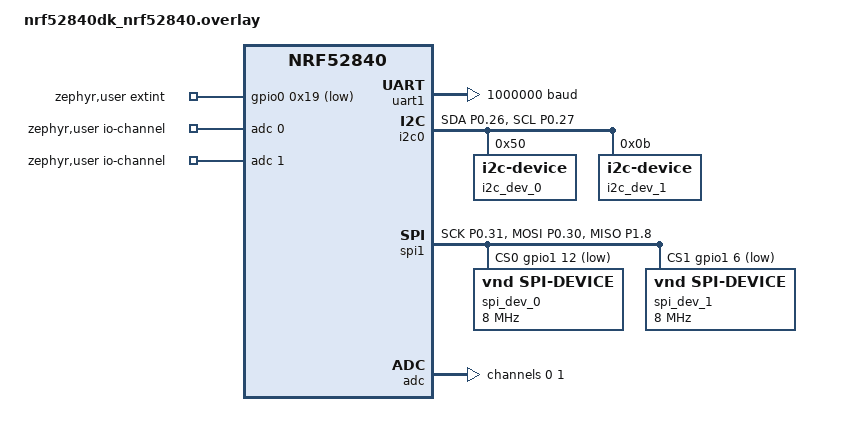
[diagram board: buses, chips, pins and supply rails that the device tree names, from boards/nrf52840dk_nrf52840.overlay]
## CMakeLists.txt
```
# SPDX-License-Identifier: Apache-2.0

cmake_minimum_required(VERSION 3.20.0)
find_package(Zephyr REQUIRED HINTS $ENV{ZEPHYR_BASE})
project(ble_comprehensive)

target_sources(app PRIVATE src/main.c)

target_sources_ifdef(CONFIG_SAMPLE_I2C app
                     PRIVATE src/i2c_thread.c)

target_sources_ifdef(CONFIG_SAMPLE_SPIM app
                     PRIVATE src/spi_thread.c)

target_sources_ifdef(CONFIG_SAMPLE_HS_UART app
                     PRIVATE src/uart_thread.c)

target_sources_ifdef(CONFIG_SAMPLE_ADC app
                     PRIVATE src/adc_thread.c)

target_sources_ifdef(CONFIG_SAMPLE_EXT_INT app
                     PRIVATE src/io_int_thread.c)

target_sources_ifdef(CONFIG_SAMPLE_FLASH_SETTINGS app
                     PRIVATE src/settings_thread.c)

target_sources_ifdef(CONFIG_SAMPLE_FLASH_NVS app
                     PRIVATE src/nvs_thread.c)

if (CONFIG_DTM_IN_APP)
    add_subdirectory(src/dtm)
endif()

zephyr_library_include_directories(.)
```

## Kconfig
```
#
# Copyright (c) 2018 Nordic Semiconductor ASA
#
# SPDX-License-Identifier: LicenseRef-BSD-5-Clause-Nordic
#

source "Kconfig.zephyr"
menu "BLE Comprehensive Example"

if BOOTLOADER_MCUBOOT
config NCS_SAMPLE_MCUMGR_BT_OTA_DFU
	default y
endif

config SAMPLE_I2C
	bool "Enable I2C master example"
	help
	  Enable I2C master communication example using simulated EEPROM.

config SAMPLE_SPIM
	bool "Enable SPI master example"
	help
	  Enable SPI master communication example.

config SAMPLE_EXT_INT
	bool "Enable external GPIO interrupt example"
	help
	  Enable external IO interrupt example triggering I2C on interrupt.

config SAMPLE_ADC
	bool "Enable ADC sampling example"
	help
	  Enable ADC sampling example reading multiple channels.

config SAMPLE_HS_UART
	bool "Enable high-speed UART example"
	help
	  Enable high-speed async UART example at 1 Mbps.

config SAMPLE_FLASH_NVS
	bool "Enable NVS flash access example"
	help
	  Enable Non-Volatile Storage (NVS) flash access usage example.

config SAMPLE_FLASH_SETTINGS
	bool "Enable Settings flash access example"
	help
	  Enable Zephyr Settings subsystem flash access usage example.

# Auto-select storage backend based on SoC flash type
config ZMS
	default y if (SOC_FLASH_NRF_RRAM || SOC_FLASH_NRF_MRAM)

config NVS
	default y if !(SOC_FLASH_NRF_RRAM || SOC_FLASH_NRF_MRAM)

config BT_NUS_SECURITY_ENABLED
	bool "Enable security"
	default n
	select BT_SMP
	help
	  Enable BLE security for the UART service.
	  Requires CONFIG_BT_NUS_SECURITY_ENABLED=y in prj.conf to activate.

config DTM_IN_APP
	bool "Enable DTM in application"
	depends on SOC_NRF54L15_CPUAPP	
	help
	  Enable Direct Test Mode (DTM) running at PRE_KERNEL_1 before
	  the application main. When enabled, hold Button 2 at boot to
	  enter DTM mode; otherwise the application boots normally.

if DTM_IN_APP
	config LOG_PRINTK
		default n

	config NRFX_TIMER
		default y		

	config KERNEL_INIT_PRIORITY_DEVICE
		int
		default 20

	config CONSOLE_INIT_PRIORITY
		int
		default 21
endif # DTM_IN_APP

if DTM_IN_APP

mainmenu "Nordic DTM sample"

config DTM_RADIO_IRQ_PRIORITY
	int "Radio interrupt priority"
	range 0 5 if ZERO_LATENCY_IRQS
	range 0 6
	default 2
	help
	  Sets Radio interrupt priority.
	  Levels are from 0 (highest priority) to 6 (lowest priority)

config DTM_TIMER_IRQ_PRIORITY
	int "DTM timer interrupt priority"
	range 0 5 if ZERO_LATENCY_IRQS
	range 0 6
	default 3
	help
	  Sets DTM timer interrupt priority.
	  Levels are from 0 (highest priority) to 6 (lowest priority)

config ANOMALY_172_TIMER_IRQ_PRIORITY
	int "Anomaly 172 timer interrupt priority"
	depends on SOC_NRF52840
	range 0 5 if ZERO_LATENCY_IRQS
	range 0 6
	default 2
	help
	  Sets anomaly 172 timer interrupt priority.
	  Levels are from 0 (highest priority) to 6 (lowest priority)

config DTM_USB
	bool "DTM over USB CDC ACM class"
	depends on SOC_NRF5340_CPUNET && !DTM_TRANSPORT_HCI
	select EXPERIMENTAL
	help
	  Use USB instead of UART as the DTM interface. For nRF5340 the USB
	  from application core is used as communication interface.

config DTM_TRANSPORT_HCI
	bool "DTM over HCI UART [EXPERIMENTAL]"
	depends on SERIAL
	depends on NET_BUF
	select EXPERIMENTAL
	help
	  Use the HCI UART transport interface as the DTM transport layer.
	  This option is inherited from SB_CONFIG_DTM_TRANSPORT_HCI.

if DTM_TRANSPORT_HCI

config DTM_HCI_QUEUE_COUNT
	int "Count of HCI RX/TX queues"
	default 16
	help
	  Maximum depth of the HCI RX/TX queues.

config DTM_HCI_QUEUE_SIZE
	int "Size of HCI RX/TX queue buffer"
	default 1024
	help
	  Maximum size of the HCI RX/TX queue element.

config DTM_HCI_TX_THREAD_STACK_SIZE
	int "Stack size of TX thread"
	default 2048
	help
	  Stack size of the TX thread.

config DTM_HCI_TX_THREAD_PRIORITY
	int "TX thread priority"
	default 7
	help
	  Priority of the TX thread.

endif # DTM_TRANSPORT_HCI

config DTM_POWER_CONTROL_AUTOMATIC
	bool "Automatic power control"
	depends on FEM
	default y
	help
	  Set the SoC output power and the front-end module gain to achieve
	  the TX output power requested by user. If the exact value cannot be
	  achieved, power is set to the closest possible value. If this option
	  is disabled, user can set the SoC output power and the front-end
	  module gain with the separate vendor specific commands.

config DTM_FAST_RAMP_UP
	bool "Enable radio fast ramp up mode"
	default y
	help
	  Do fast ramp up when starting the radio peripheral. This mode will
	  significantly reduce the ramp up time and makes it almost the same
	  on all supported chips.

endif # DTM_IN_APP

module = BLE_COMPREHENSIVE_CONFIG
module-str = BLE Comprehensive Sample configurations
source "${ZEPHYR_BASE}/subsys/logging/Kconfig.template.log_config"

endmenu
```

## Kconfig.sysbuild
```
#
# Copyright (c) 2023 Nordic Semiconductor ASA
#
# SPDX-License-Identifier: LicenseRef-Nordic-5-Clause
#

if SOC_SERIES_NRF53

if BOOTLOADER_MCUBOOT

config MCUBOOT_UPDATEABLE_IMAGES
	default 2

choice MCUBOOT_MODE
	default MCUBOOT_MODE_OVERWRITE_ONLY
endchoice

config SECURE_BOOT_NETCORE
	default y

config NETCORE_APP_UPDATE
	default y

config MCUBOOT_NRF53_MULTI_IMAGE_UPDATE
	default y

endif # BOOTLOADER_MCUBOOT

config NRF_DEFAULT_IPC_RADIO
	default y

config NETCORE_IPC_RADIO_BT_HCI_IPC
	default y 
endif # SOC_SERIES_NRF53

choice APPCORE
	default APPCORE_REMOTE_HCI if DTM_TRANSPORT_HCI
	default APPCORE_REMOTE_SHELL if SOC_NRF5340_CPUNET
	depends on SUPPORT_APPCORE

config APPCORE_REMOTE_HCI
	bool "remote_hci"
	depends on SOC_NRF5340_CPUNET
	help
	  Include remote_hci as the appcore image to use

endchoice

config APPCORE_IMAGE_NAME
	default "remote_hci" if APPCORE_REMOTE_HCI

config APPCORE_IMAGE_PATH
	default "${ZEPHYR_NRF_MODULE_DIR}/samples/bluetooth/direct_test_mode/remote_hci" if APPCORE_REMOTE_HCI

choice DTM_TRANSPORT
	default DTM_TRANSPORT_TWOWIRE
	prompt "Transport layer to use with DTM"
	help
	  Transport interface to use with the DTM.

config DTM_TRANSPORT_TWOWIRE
	bool "DTM over 2-wire UART"
	help
	  Use the 2-wire transport interface as the DTM transport layer.

config DTM_TRANSPORT_HCI
	bool "DTM over HCI UART [EXPERIMENTAL]"
	select EXPERIMENTAL
	help
	  Use the HCI UART transport interface as the DTM transport layer.

endchoice # DTM_TRANSPORT

config DTM_NO_DFE
	bool "Disable direction finding"
	help
	  Disable direction finding feature.

source "share/sysbuild/Kconfig"
```

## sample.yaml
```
sample:
  description: BLE sample with secondary slot on external QSPI/SPI flash
  name: BLE Comprehensive example
tests:
  sample.bluetooth.ble_comprehensive:
    sysbuild: true
    harness: bluetooth
    integration_platforms:
      - nrf52dk/nrf52832
      - nrf52840dk/nrf52840
    platform_allow: nrf52dk/nrf52832 nrf52840dk/nrf52840
    tags: bluetooth sysbuild
  sample.bluetooth.ble_comprehensive.build:
    sysbuild: true
    build_only: true
    integration_platforms:
      - nrf52840dk/nrf52840
      - nrf5340dk/nrf5340/cpuapp
      - nrf7002dk/nrf5340/cpuapp      
      - nrf54l15dk/nrf54l15/cpuapp
    platform_allow: nrf52840dk/nrf52840 nrf5340dk/nrf5340/cpuapp
      nrf7002dk/nrf5340/cpuapp nrf54l15dk/nrf54l15/cpuapp
    tags: bluetooth ci_build sysbuild
```

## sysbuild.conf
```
# Enable MCUboot bootloader support
SB_CONFIG_BOOTLOADER_MCUBOOT=y
SB_CONFIG_PARTITION_MANAGER=n
SB_CONFIG_BOOT_SIGNATURE_TYPE_ECDSA_P256=y
```

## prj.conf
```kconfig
CONFIG_NCS_SAMPLES_DEFAULTS=y

## Logging
CONFIG_LOG=y
CONFIG_LOG_MODE_DEFERRED=y
CONFIG_PRINTK=y
CONFIG_LOG_PRINTK=n
CONFIG_LOG_BUFFER_SIZE=8192
CONFIG_EARLY_CONSOLE=y

## Peripherals
CONFIG_GPIO=y
CONFIG_DK_LIBRARY=y
CONFIG_I2C=y
CONFIG_SERIAL=y
CONFIG_UART_ASYNC_API=y
CONFIG_UART_USE_RUNTIME_CONFIGURE=y
CONFIG_NRFX_GPPI=y
CONFIG_CLOCK_CONTROL=y
CONFIG_SPI=y
CONFIG_ADC=y
CONFIG_ADC_ASYNC=y
CONFIG_ADC_NRFX_SAADC=y

## Flash / Storage
CONFIG_FLASH=y
CONFIG_FLASH_PAGE_LAYOUT=y
CONFIG_FLASH_MAP=y
CONFIG_MPU_ALLOW_FLASH_WRITE=y
CONFIG_SETTINGS=y

## Bluetooth
CONFIG_BT=y
CONFIG_BT_PERIPHERAL=y
CONFIG_BT_DEVICE_NAME="comprehensive"
CONFIG_BT_NUS=y

# Enable FOTA over Bluetooth LE
CONFIG_NCS_SAMPLE_MCUMGR_BT_OTA_DFU=y

## Active feature examples
CONFIG_SAMPLE_I2C=y
CONFIG_SAMPLE_EXT_INT=y
CONFIG_SAMPLE_HS_UART=y
CONFIG_SAMPLE_SPIM=y
CONFIG_SAMPLE_ADC=y
CONFIG_SAMPLE_FLASH_SETTINGS=y

## Power Management
CONFIG_PM_DEVICE=y

## Thread Monitor
CONFIG_THREAD_ANALYZER=y
CONFIG_THREAD_NAME=y

## Stack / Heap Sizing
CONFIG_SYSTEM_WORKQUEUE_STACK_SIZE=4096
CONFIG_HEAP_MEM_POOL_SIZE=12288
CONFIG_MAIN_STACK_SIZE=4096
CONFIG_ISR_STACK_SIZE=4096
```

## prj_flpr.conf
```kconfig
## logging configurations ##
CONFIG_ASSERT=y
CONFIG_LOG=y
CONFIG_LOG_PRINTK=y
CONFIG_LOG_BUFFER_SIZE=8192

## peripherals ##
CONFIG_GPIO=y
CONFIG_DK_LIBRARY=y

## stack size configurations ##
CONFIG_SYSTEM_WORKQUEUE_STACK_SIZE=4096
# CONFIG_ISR_STACK_SIZE=2048
CONFIG_HEAP_MEM_POOL_SIZE=12288
CONFIG_MAIN_STACK_SIZE=2048

## I2C master example ##
CONFIG_EXAMPLE_I2C=y
CONFIG_I2C=y

## external interrupt example ##
CONFIG_EXAMPLE_EXT_INT=y

## SPI master example ##
CONFIG_EXAMPLE_SPIM=y
CONFIG_SPI=y

CONFIG_EXAMPLE_HS_UART=n

## ADC example ##
CONFIG_EXAMPLE_ADC=y
CONFIG_ADC=y
CONFIG_ADC_NRFX_SAADC=y

## Flash access usage example ##
CONFIG_FLASH=y
CONFIG_FLASH_PAGE_LAYOUT=y
CONFIG_FLASH_MAP=y
CONFIG_MPU_ALLOW_FLASH_WRITE=y

CONFIG_EXAMPLE_FLASH_NVS=y
CONFIG_NVS=y

CONFIG_EXAMPLE_FLASH_SETTINGS=y
CONFIG_SETTINGS=y
CONFIG_PM_PARTITION_SIZE_SETTINGS_STORAGE=0x4000

## BT configurations ##
CONFIG_BT=y
CONFIG_BT_PERIPHERAL=y
CONFIG_BT_DEVICE_NAME="comprehensive"
CONFIG_BT_BUF_ACL_TX_SIZE=251
CONFIG_BT_BUF_ACL_RX_SIZE=502
CONFIG_BT_CTLR_DATA_LENGTH_MAX=251
CONFIG_BT_MAX_CONN=2

# Enable the NUS service
CONFIG_BT_NUS=y

## Enable bonding ##
# CONFIG_BT_NUS_SECURITY_ENABLED=y
# CONFIG_BT_SETTINGS=y
# CONFIG_BT_L2CAP_DYNAMIC_CHANNEL=y
# CONFIG_BT_SETTINGS_CCC_STORE_ON_WRITE=y

## Open the following configs to run SMP DFU ##
CONFIG_NCS_SAMPLE_MCUMGR_BT_OTA_DFU=y
CONFIG_NCS_SAMPLE_MCUMGR_BT_OTA_DFU_SPEEDUP=y
CONFIG_NCS_SAMPLE_MCUMGR_BT_OTA_DFU_VALIDATION=y
CONFIG_MCUMGR_GRP_ZBASIC_STORAGE_ERASE=n

## Device power management example ##
CONFIG_PM_DEVICE=y

## Thread monitor ##
CONFIG_THREAD_ANALYZER=y
CONFIG_THREAD_NAME=y

## Change logging backend to RTT ##
# CONFIG_LOG_BACKEND_UART=n
# CONFIG_LOG_BACKEND_RTT=y
# CONFIG_USE_SEGGER_RTT=y
# CONFIG_RTT_CONSOLE=y
# CONFIG_UART_CONSOLE=n

## open Debug logging for BT or other modules
# CONFIG_BT_SMP_ALLOW_UNAUTH_OVERWRITE=y
# # CONFIG_BT_USE_DEBUG_KEYS=y
# # CONFIG_BT_STORE_DEBUG_KEYS=y
# CONFIG_LOG_PROCESS_THREAD_STACK_SIZE=4096
# CONFIG_LOG_BUFFER_SIZE=40960
# CONFIG_BT_DEBUG_LOG=y
# CONFIG_LOG_DEFAULT_LEVEL=4
# CONFIG_BT_ASSERT=y
# CONFIG_BT_ASSERT_PANIC=y
# CONFIG_BT_DEBUG_LOG=y
# CONFIG_BT_DEBUG_HCI_CORE=y
# CONFIG_BT_DEBUG_HCI_DRIVER=y
# CONFIG_BT_LL_SW_SPLIT=y
```

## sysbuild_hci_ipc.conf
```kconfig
# Enable MCUboot bootloader support
SB_CONFIG_BOOTLOADER_MCUBOOT=y
SB_CONFIG_NETCORE_HCI_IPC=y
SB_CONFIG_PARTITION_MANAGER=y
SB_CONFIG_NETCORE_APP_UPDATE=y
SB_CONFIG_SECURE_BOOT_NETCORE=y
SB_CONFIG_PM_EXTERNAL_FLASH_MCUBOOT_SECONDARY=y
SB_CONFIG_BOOT_SIGNATURE_TYPE_ECDSA_P256=y
```

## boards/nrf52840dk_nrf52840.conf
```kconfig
## NVS flash storage backend
CONFIG_SAMPLE_FLASH_NVS=y
CONFIG_NVS=y
```

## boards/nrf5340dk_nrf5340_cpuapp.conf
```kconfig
# CONFIG_NRFX_TWIM2=y

# CONFIG_UART_NRFX_UARTE_LEGACY_SHIM=y
# CONFIG_UART_NRFX_UARTE_ENHANCED_RX=n
# CONFIG_UART_0_ASYNC=n
# CONFIG_UART_ASYNC_API=y
# CONFIG_UART_1_ASYNC=y
# # CONFIG_NRFX_UARTE1=y
# CONFIG_UART_1_NRF_HW_ASYNC=y
# CONFIG_UART_1_NRF_HW_ASYNC_TIMER=1

# CONFIG_NRFX_SPIM3=y

CONFIG_EXAMPLE_FLASH_NVS=y
CONFIG_NVS=y
```

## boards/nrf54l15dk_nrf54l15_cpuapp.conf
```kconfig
# External SPI flash storage
CONFIG_NORDIC_QSPI_NOR=n
CONFIG_SPI=y
CONFIG_SPI_NOR=y
CONFIG_SPI_NOR_FLASH_LAYOUT_PAGE_SIZE=4096
CONFIG_NRF_RRAM_WRITE_BUFFER_SIZE=32

# ZMS settings backend (ZMS is auto-selected for RRAM, but these helpers are explicit)
CONFIG_SETTINGS_ZMS=y
CONFIG_ZMS_LOOKUP_CACHE=y
CONFIG_SAMPLE_FLASH_NVS=n

# High-speed UART on UART20
CONFIG_UART_20_ASYNC=y

# # Direct Test Mode in application. Must put them here. Kconfig cannot make them work
# CONFIG_DTM_IN_APP=y
# CONFIG_NRFX_TIMER=y
# CONFIG_LOG_PRINTK=n
# CONFIG_KERNEL_INIT_PRIORITY_DEVICE=20
# CONFIG_CONSOLE_INIT_PRIORITY=21
```

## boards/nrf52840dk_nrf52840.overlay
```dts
&flash0 {
	/delete-node/ partitions;

	partitions {
		ranges;
		#address-cells = <1>;
		#size-cells = <1>;

		boot_partition: partition@0 {
			compatible = "zephyr,mapped-partition";
			label = "mcuboot";
			reg = <0x0 0xc000>;
		};

		slot0_partition: partition@c000 {
			compatible = "zephyr,mapped-partition";
			label = "image-0";
			reg = <0xc000 0xf0000>;
		};

		storage_partition: partition@fc000 {
			compatible = "zephyr,mapped-partition";
			label = "storage";
			reg = <0xfc000 0x4000>;
		};
	};
};

&mx25r64 {
	partitions {
		compatible = "fixed-partitions";
		ranges;
		#address-cells = <1>;
		#size-cells = <1>;

		slot1_partition: partition@0 {
			label = "image-1";
			reg = <0x0 0xf0000>;
		};
	};
};

/ {
	chosen {
		nordic,pm-ext-flash = &mx25r64;
		zephyr,code-partition = &slot0_partition;
	};
	aliases {
		myi2c = &i2c0;
		myspi = &spi1;
		myuart = &uart1;
	};
	zephyr,user {
		io-channels = <&adc 0>, <&adc 1>;
		extint-gpios = <&gpio0 0x19 GPIO_ACTIVE_LOW>;
	};
};

&uicr {
	nfct-pins-as-gpios;
};

&pinctrl {
	i2c0_default: i2c0_default {
		group1 {
			psels = <NRF_PSEL(TWIM_SDA, 0, 26)>,
				<NRF_PSEL(TWIM_SCL, 0, 27)>;
			bias-pull-up;
			nordic,drive-mode = <NRF_DRIVE_S0D1>;
		};
	};

	i2c0_sleep: i2c0_sleep {
		group1 {
			psels = <NRF_PSEL(TWIM_SDA, 0, 26)>,
				<NRF_PSEL(TWIM_SCL, 0, 27)>;
			low-power-enable;
		};
	};

	spi1_default: spi1_default {
		group1 {
			psels = <NRF_PSEL(SPIM_SCK, 0, 31)>,
				<NRF_PSEL(SPIM_MOSI, 0, 30)>,
				<NRF_PSEL(SPIM_MISO, 1, 8)>;
		};
	};

	spi1_sleep: spi1_sleep {
		group1 {
			psels = <NRF_PSEL(SPIM_SCK, 0, 31)>,
				<NRF_PSEL(SPIM_MOSI, 0, 30)>,
				<NRF_PSEL(SPIM_MISO, 1, 8)>;
			low-power-enable;
		};
	};
};

&uart1 {
	status = "okay";
	current-speed = < 1000000 >;
};

&i2c0 {
	status = "okay";
	compatible = "nordic,nrf-twim";
	pinctrl-0 = < &i2c0_default >;
	pinctrl-1 = < &i2c0_sleep >;
	pinctrl-names = "default", "sleep";
	i2c_dev_0: i2c_dev_0@50 {
		compatible = "i2c-device";
		reg = <0x50>;
	};
	i2c_dev_1: i2c_dev_1@b {
		compatible = "i2c-device";
		reg = <0x0B>;
	};
};

&spi0 {
	status = "disabled";
};

&spi1 {
	status = "okay";
	compatible = "nordic,nrf-spim";
	pinctrl-0 = <&spi1_default>;
	pinctrl-1 = <&spi1_sleep>;
	pinctrl-names = "default", "sleep";
	cs-gpios = <&gpio1 12 GPIO_ACTIVE_LOW>, <&gpio1 6 GPIO_ACTIVE_LOW>;
	spi_dev_0: spi_dev_0@0 {
		compatible = "vnd,spi-device";
		reg = <0>;
		spi-max-frequency = <DT_FREQ_M(8)>;
	};
	spi_dev_1: spi_dev_1@1 {
		compatible = "vnd,spi-device";
		reg = <1>;
		spi-max-frequency = <DT_FREQ_M(8)>;
	};

};

&i2c1 {
	status = "disabled";
};

&adc {
	status = "okay";
	#address-cells = <1>;
	#size-cells = <0>;

	channel@0 {
		reg = <0>;
		zephyr,gain = "ADC_GAIN_1_6";
		zephyr,reference = "ADC_REF_INTERNAL";
		zephyr,acquisition-time = <ADC_ACQ_TIME(ADC_ACQ_TIME_MICROSECONDS, 20)>;
		zephyr,input-positive = <NRF_SAADC_AIN0>;
		zephyr,vref-mv = <600>;
		zephyr,resolution = <10>;
	};

	channel@1 {
		reg = <1>;
		zephyr,gain = "ADC_GAIN_1_6";
		zephyr,reference = "ADC_REF_INTERNAL";
		zephyr,acquisition-time = <ADC_ACQ_TIME(ADC_ACQ_TIME_MICROSECONDS, 20)>;
		zephyr,input-positive = <NRF_SAADC_VDD>;
		zephyr,vref-mv = <600>;
		zephyr,resolution = <10>;
	};

};

/* delete sw3 to reserve the related pin for GPIO use */
/ {
	aliases {
	 /delete-property/ sw3;
	};
  };

/delete-node/ &button3;

&gpio0 {
	/* pin 0x19 sense for edge */
	sense-edge-mask = <0x2000000>;
};
```

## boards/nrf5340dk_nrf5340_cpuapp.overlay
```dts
&flash0 {
	/delete-node/ partitions;

	partitions {
		ranges;
		#address-cells = <1>;
		#size-cells = <1>;

		boot_partition: partition@0 {
			compatible = "zephyr,mapped-partition";
			label = "mcuboot";
			reg = <0x0 0xc000>;
		};

		slot0_partition: partition@c000 {
			compatible = "zephyr,mapped-partition";
			label = "image-0";
			reg = <0xc000 0xf0000>;
		};

		storage_partition: partition@fc000 {
			compatible = "zephyr,mapped-partition";
			label = "storage";
			reg = <0xfc000 0x4000>;
		};
	};
};

&mx25r64 {

	partitions {
		compatible = "fixed-partitions";
		#address-cells = <1>;
		#size-cells = <1>;

		slot1_partition: partition@0 {
			label = "image-1";
			reg = <0x0 0xf0000>;
		};

		slot3_partition: partition@f0000 {
			label = "image-3";
			reg = <0xf0000 0x40000>;
		};
	};
};

/ {
	chosen {
		nordic,pm-ext-flash = &mx25r64;
	};
	aliases {
		myi2c = &i2c2;
		myspi = &spi3;
		myuart = &uart1;
	};
	zephyr,user {
		io-channels = <&adc 0>, <&adc 1>;
		extint-gpios = <&gpio0 9 GPIO_ACTIVE_LOW>;
	};
};

&uicr {
	nfct-pins-as-gpios;
};

&pinctrl {
	i2c2_default: i2c2_default {
		group1 {
			psels = <NRF_PSEL(TWIM_SDA, 0, 4)>,
				<NRF_PSEL(TWIM_SCL, 0, 27)>;
			bias-pull-up;
			nordic,drive-mode = <NRF_DRIVE_S0D1>;
		};
	};

	i2c2_sleep: i2c2_sleep {
		group1 {
			psels = <NRF_PSEL(TWIM_SDA, 0, 4)>,
				<NRF_PSEL(TWIM_SCL, 0, 27)>;
			low-power-enable;
		};
	};

	spi3_default: spi3_default {
		group1 {
			psels = <NRF_PSEL(SPIM_SCK, 1, 15)>,
				<NRF_PSEL(SPIM_MOSI, 1, 13)>,
				<NRF_PSEL(SPIM_MISO, 1, 14)>;
		};
	};

	spi3_sleep: spi3_sleep {
		group1 {
			psels = <NRF_PSEL(SPIM_SCK, 1, 15)>,
				<NRF_PSEL(SPIM_MOSI, 1, 13)>,
				<NRF_PSEL(SPIM_MISO, 1, 14)>;
			low-power-enable;
		};
	};
};

&uart0 {
	compatible = "nordic,nrf-uarte";
	status = "okay";
	current-speed = < 115200 >;
	/* delete rts-pin&cts-pin to release the related 2 pins for other uses */
	/delete-property/ rts-pin;
	/delete-property/ cts-pin;
};

&uart1 {
	status = "okay";
	current-speed = < 1000000 >;
};

&i2c1 {
	status = "disabled";
};

&i2c2 {
	status = "okay";
	compatible = "nordic,nrf-twim";
	pinctrl-0 = < &i2c2_default >;
	pinctrl-1 = < &i2c2_sleep >;
	pinctrl-names = "default", "sleep";
	i2c_dev_0: i2c_dev_0@50 {
		compatible = "i2c-device";
		reg = <0x50>;
	};
	i2c_dev_1: i2c_dev_1@B {
		compatible = "i2c-device";
		reg = <0x0B>;
	};
};

&spi2 {
	status = "disabled";
};

&spi3 {
    status = "okay";
    compatible = "nordic,nrf-spim";
    pinctrl-0 = <&spi3_default>;
    pinctrl-1 = <&spi3_sleep>;
    pinctrl-names = "default", "sleep";
    cs-gpios = <&gpio1 12 GPIO_ACTIVE_LOW>, <&gpio1 6 GPIO_ACTIVE_LOW>;

    spi_dev_0: spi_dev_0@0 {
        compatible = "vnd,spi-device";
        reg = <0>;
        spi-max-frequency = <8000000>;
    };
    spi_dev_1: spi_dev_1@1 {
        compatible = "vnd,spi-device";
        reg = <1>;
        spi-max-frequency = <8000000>;
    };
};

&adc {
	status = "okay";
	#address-cells = <1>;
	#size-cells = <0>;

	channel@0 {
		reg = <0>;
		zephyr,gain = "ADC_GAIN_1_6";
		zephyr,reference = "ADC_REF_INTERNAL";
		zephyr,acquisition-time = <ADC_ACQ_TIME(ADC_ACQ_TIME_MICROSECONDS, 20)>;
		zephyr,input-positive = <NRF_SAADC_AIN1>;
		zephyr,vref-mv = <600>;
		zephyr,resolution = <10>;
	};

	channel@1 {
		reg = <1>;
		zephyr,gain = "ADC_GAIN_1_6";
		zephyr,reference = "ADC_REF_INTERNAL";
		zephyr,acquisition-time = <ADC_ACQ_TIME(ADC_ACQ_TIME_MICROSECONDS, 20)>;
		zephyr,input-positive = <NRF_SAADC_VDD>;
		zephyr,vref-mv = <600>;
		zephyr,resolution = <10>;
	};

};

/* delete sw3 to reserve the related pin for GPIO use */
/ {
	aliases {
	 /delete-property/ sw3;
	};
  };

/delete-node/ &button3;

&gpio0 {
	/* pin9 sense for edge */
	sense-edge-mask = <0x200>;
};
```

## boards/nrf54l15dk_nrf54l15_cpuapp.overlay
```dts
&cpuapp_rram {
	/delete-node/ partitions;

	partitions {
		ranges;
		#address-cells = <1>;
		#size-cells = <1>;

		boot_partition: partition@0 {
			compatible = "zephyr,mapped-partition";
			label = "mcuboot";
			reg = <0x0 0xc000>;
		};

		slot0_partition: partition@c000 {
			compatible = "zephyr,mapped-partition";
			label = "image-0";
			reg = <0xc000 0x166000>;
		};

		storage_partition: partition@172000 {
			compatible = "zephyr,mapped-partition";
			label = "storage";
			reg = <0x172000 0xb000>;
		};
	};
};

&mx25r64 {
	partitions {
		compatible = "fixed-partitions";
		#address-cells = <1>;
		#size-cells = <1>;

		slot1_partition: partition@0 {
			label = "image-1";
			reg = <0x0 0x166000>;
		};

		littlefs_storage: partition@166000 {
			label = "littlefs-storage";
			reg = <0x166000 0x69a000>;
		};
	};
};

/ {
	chosen {
		nordic,pm-ext-flash = &mx25r64;
		zephyr,console = &uart30;
		ncs,dtm-uart = &uart20;
		zephyr,code-partition = &slot0_partition;
	};
	aliases {
		myi2c = &i2c22;
		myspi = &spi21;
		myuart = &uart20;
	};
	zephyr,user {
		io-channels = <&adc 0>, <&adc 1>;
		extint-gpios = <&gpio0 4 GPIO_ACTIVE_LOW>;
	};
};

&radio {
	status = "okay";
	/delete-property/ dfe-supported;
};

&uicr {
	nfct-pins-as-gpios;
};

&pinctrl {
	i2c22_default: i2c22_default {
		group1 {
			psels = <NRF_PSEL(TWIM_SDA, 1, 11)>,
				<NRF_PSEL(TWIM_SCL, 1, 12)>;
			bias-pull-up;
			nordic,drive-mode = <NRF_DRIVE_S0D1>;
		};
	};

	i2c22_sleep: i2c22_sleep {
		group1 {
			psels = <NRF_PSEL(TWIM_SDA, 1, 11)>,
				<NRF_PSEL(TWIM_SCL, 1, 12)>;
			low-power-enable;
		};
	};

	spi21_default: spi21_default {
		group1 {
			psels = <NRF_PSEL(SPIM_SCK, 2, 6)>,
				<NRF_PSEL(SPIM_MOSI, 1, 6)>,
				<NRF_PSEL(SPIM_MISO, 1, 7)>;
		};
	};

	spi21_sleep: spi21_sleep {
		group1 {
			psels = <NRF_PSEL(SPIM_SCK, 2, 6)>,
				<NRF_PSEL(SPIM_MOSI, 1, 6)>,
				<NRF_PSEL(SPIM_MISO, 1, 7)>;
			low-power-enable;
		};
	};
};

&uart30 {
	status = "okay";
	current-speed = < 115200 >;
	/delete-property/ rts-pin;
	/delete-property/ cts-pin;
	/delete-property/ hw-flow-control;
};

&uart20 {
	status = "okay";
	current-speed = < 1000000 >;
	timer = <&timer20>;
	/delete-property/ rts-pin;
	/delete-property/ cts-pin;
	/delete-property/ hw-flow-control;
};

&timer10 {
    status="okay";
};

&timer20 {
    status="okay";
};

&timer21 {
    status="okay";
};

&dppic10 {
    status = "okay";
};

&dppic20 {
    status = "okay";
};

&spi21 {
	status = "okay";
	compatible = "nordic,nrf-spim";
	pinctrl-0 = <&spi21_default>;
	pinctrl-1 = <&spi21_sleep>;
	pinctrl-names = "default", "sleep";
    	cs-gpios = <&gpio2 10 GPIO_ACTIVE_LOW>, <&gpio2 8 GPIO_ACTIVE_LOW>;
	spi_dev_0: spi_dev_0@0 {
		compatible = "vnd,spi-device";
		reg = <0>;
		spi-max-frequency = <DT_FREQ_M(4)>;
	};
	spi_dev_1: spi_dev_1@1 {
		compatible = "vnd,spi-device";
		reg = <1>;
		spi-max-frequency = <DT_FREQ_M(8)>;
	};
};

&i2c22 {
	status = "okay";
	clock-frequency = <I2C_BITRATE_FAST>;
	pinctrl-0 = < &i2c22_default >;
	pinctrl-1 = < &i2c22_sleep >;
	pinctrl-names = "default", "sleep";
	i2c_dev_0: i2c_dev_0@50 {
		compatible = "i2c-device";
		reg = <0x50>;
	};
	i2c_dev_1: i2c_dev_1@b {
		compatible = "i2c-device";
		reg = <0x0B>;
	};
};

&adc {
	status = "okay";
	#address-cells = <1>;
	#size-cells = <0>;

	channel@0 {
		reg = <0>;
		zephyr,gain = "ADC_GAIN_2_5";
		zephyr,reference = "ADC_REF_INTERNAL";
		zephyr,acquisition-time = <ADC_ACQ_TIME(ADC_ACQ_TIME_MICROSECONDS, 20)>;
		zephyr,input-positive = <NRF_SAADC_AIN7>;
		zephyr,vref-mv = <900>;
		zephyr,resolution = <10>;
	};

	channel@1 {
		reg = <1>;
		zephyr,gain = "ADC_GAIN_2_5";
		zephyr,reference = "ADC_REF_INTERNAL";
		zephyr,acquisition-time = <ADC_ACQ_TIME(ADC_ACQ_TIME_MICROSECONDS, 20)>;
		zephyr,input-positive = <NRF_SAADC_VDD>;
		zephyr,vref-mv = <900>;
		zephyr,resolution = <10>;
	};

};

&gpio0 {
	/* p0.4 sense for edge */
	sense-edge-mask = <0x0010>;
};

/* restore full RRAM and SRAM space - by default some parts are dedicated to FLRP */
&cpuapp_rram {
	reg = <0x0 DT_SIZE_K(1524)>;
};

&cpuapp_sram {
	reg = <0x20000000 DT_SIZE_K(256)>;
	ranges = <0x0 0x20000000  0x40000>;
};

&mx25r64 {
	status = "okay";
};

/* delete sw3 to reserve the related pin for GPIO use */
/ {
	aliases {
	 /delete-property/ sw3;
	 /delete-property/ led3;
	};
  };

/delete-node/ &button3;
/delete-node/ &led3;
```

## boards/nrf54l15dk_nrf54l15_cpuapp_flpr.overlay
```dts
/* overlay file for app core */

/ {
	chosen {
		nordic,pm-ext-flash = &mx25r64;
		zephyr,console = &uart30;
	};
	aliases {
		myi2c = &i2c22;
		myspi = &spi21;		
	};	
	/* See &GPIO0 definition below */
	zephyr,user {
		io-channels = <&adc 0>, <&adc 1>;
		extint-gpios = <&gpio0 4 GPIO_ACTIVE_LOW>;
	};		
};

/{
	soc {
			 reserved-memory {
					  #address-cells = <1>;
					  #size-cells = <1>;					
					  cpuflpr_code_partition: image@165000 {
						reg = < 0x165000 0x15000 >;						
					};
			 };
			 cpuflpr_sram_code_data: memory@20028000 {
					  compatible = "mmio-sram";
					  reg = <0x20028000 DT_SIZE_K(84)>;
					  #address-cells = <1>;
					  #size-cells = <1>;
					  ranges = <0x0 0x20028000 0x15000>;
			 };
	};
};

// restore full RRAM size
// &cpuapp_rram {
// 	reg = <0x0 DT_SIZE_K(1524)>;
// };

&uicr {
	nfct-pins-as-gpios;
};

&pinctrl {
	// &uart30_sleep {
	// 	group1 {
	// 		psels = <NRF_PSEL(UART_TX, 0, 0)>,
	// 				<NRF_PSEL(UART_RX, 0, 1)>;
	// 	};
	// };
	
	// &uart30_default {
	// 	group1 {
	// 		psels = <NRF_PSEL(UART_TX, 0, 0)>;
	// 	};
	// 	group2 {
	// 		psels = <NRF_PSEL(UART_RX, 0, 1)>;
	// 	};
	// };
		
	i2c22_default: i2c22_default {
		group1 {
			psels = <NRF_PSEL(TWIM_SDA, 1, 11)>,
				<NRF_PSEL(TWIM_SCL, 1, 12)>;
			bias-pull-up;
			nordic,drive-mode = <NRF_DRIVE_S0D1>;				
		};
	};

	i2c22_sleep: i2c22_sleep {
		group1 {
			psels = <NRF_PSEL(TWIM_SDA, 1, 11)>,
				<NRF_PSEL(TWIM_SCL, 1, 12)>;
			low-power-enable;
		};
	};	

	spi21_default: spi21_default {
		group1 {
			psels = <NRF_PSEL(SPIM_SCK, 2, 6)>,
				<NRF_PSEL(SPIM_MOSI, 1, 6)>,
				<NRF_PSEL(SPIM_MISO, 1, 7)>;
		};
	};

	spi21_sleep: spi21_sleep {
		group1 {
			psels = <NRF_PSEL(SPIM_SCK, 2, 6)>,
				<NRF_PSEL(SPIM_MOSI, 1, 6)>,
				<NRF_PSEL(SPIM_MISO, 1, 7)>;
			low-power-enable;
		};
	};
};


&uart30 {
	status = "okay";
	current-speed = < 115200 >;
	/delete-property/ rts-pin;
	/delete-property/ cts-pin;
	/delete-property/ hw-flow-control;
	/delete-property/ frame-timeout-supported;
};

&uart20 {
	status = "disabled";
};

&spi21 {
	status = "okay"; 
	compatible = "nordic,nrf-spim";
	pinctrl-0 = <&spi21_default>;
	pinctrl-1 = <&spi21_sleep>;
	pinctrl-names = "default", "sleep";	
    cs-gpios = <&gpio2 10 GPIO_ACTIVE_LOW>, <&gpio2 8 GPIO_ACTIVE_LOW>;
	spi_dev_0: spi_dev_0@0 {
		compatible = "spi-user-define";
		reg = <0>;
		spi-max-frequency = <DT_FREQ_M(4)>;
	}; 
	spi_dev_1: spi_dev_1@1 {
		compatible = "spi-user-define";
		reg = <1>;
		spi-max-frequency = <DT_FREQ_M(8)>;
	};    			   	
};

&i2c22 {
	status = "okay";
	clock-frequency = <I2C_BITRATE_FAST>;
	pinctrl-0 = < &i2c22_default >;
	pinctrl-1 = < &i2c22_sleep >;
	pinctrl-names = "default", "sleep";
	i2c_dev_0: i2c_dev_0@50 {
		compatible = "i2c-device";
		reg = <0x50>;
	};
	i2c_dev_1: i2c_dev_1@b {
		compatible = "i2c-device";
		reg = <0x0B>;
	}; 		
};

&adc {
	status = "okay";
	#address-cells = <1>;
	#size-cells = <0>;

	channel@0 {
		reg = <0>;
		zephyr,gain = "ADC_GAIN_2_5";
		zephyr,reference = "ADC_REF_INTERNAL";
		zephyr,acquisition-time = <ADC_ACQ_TIME(ADC_ACQ_TIME_MICROSECONDS, 20)>;
		zephyr,input-positive = <NRF_SAADC_AIN7>;
		zephyr,vref-mv = <900>;
		zephyr,resolution = <10>;					
	};
	
	channel@1 {
		reg = <1>;
		zephyr,gain = "ADC_GAIN_2_5";
		zephyr,reference = "ADC_REF_INTERNAL";
		zephyr,acquisition-time = <ADC_ACQ_TIME(ADC_ACQ_TIME_MICROSECONDS, 20)>;
		zephyr,input-positive = <NRF_SAADC_VDD>;
		zephyr,vref-mv = <900>;
		zephyr,resolution = <10>;				
	};

};

&gpio0 {
	/* p0.4 sense for edge */
	sense-edge-mask = <0x0010>;
};

&mx25r64 {
	status = "okay";
};

/* delete sw3 to reserve the related pin for GPIO use */
/ {
	aliases {  
	 /delete-property/ sw3;
	 /delete-property/ led3;
	};
  };

/delete-node/ &button3;
/delete-node/ &led3;
```

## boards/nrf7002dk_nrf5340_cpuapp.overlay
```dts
&flash0 {
	/delete-node/ partitions;

	partitions {
		ranges;
		#address-cells = <1>;
		#size-cells = <1>;

		boot_partition: partition@0 {
			compatible = "zephyr,mapped-partition";
			label = "mcuboot";
			reg = <0x0 0xc000>;
		};

		slot0_partition: partition@c000 {
			compatible = "zephyr,mapped-partition";
			label = "image-0";
			reg = <0xc000 0xf0000>;
		};

		storage_partition: partition@fc000 {
			compatible = "zephyr,mapped-partition";
			label = "storage";
			reg = <0xfc000 0x4000>;
		};
	};
};

&mx25r64 {
	partitions {
		compatible = "fixed-partitions";
		ranges;
		#address-cells = <1>;
		#size-cells = <1>;

		slot1_partition: partition@0 {
			label = "image-1";
			reg = <0x0 0xf0000>;
		};

		slot3_partition: partition@f0000 {
			label = "image-3";
			reg = <0xf0000 0x38000>;
		};
	};
};

/ {
	chosen {
		nordic,pm-ext-flash = &mx25r64;
	};
	aliases {
		myi2c = &i2c2;
		myspi = &spi3;
		myuart = &uart1; 
	};	
	/* See &GPIO0 definition below */
	zephyr,user {
		io-channels = <&adc 0>, <&adc 1>;
		extint-gpios = <&gpio0 9 GPIO_ACTIVE_LOW>;
	};		
};

&uicr {
	nfct-pins-as-gpios;
};

&pinctrl {
	uart0_default: uart0_default {
		group1 {
			psels = <NRF_PSEL(UART_TX, 0, 20)>,
				<NRF_PSEL(UART_RTS, 0, 19)>;
		};
		group2 {
			psels = <NRF_PSEL(UART_RX, 0, 22)>,
				<NRF_PSEL(UART_CTS, 0, 21)>;
			bias-pull-up;
		};
	};

	uart0_sleep: uart0_sleep {
		group1 {
			psels = <NRF_PSEL(UART_TX, 0, 20)>,
				<NRF_PSEL(UART_RX, 0, 22)>,
				<NRF_PSEL(UART_RTS, 0, 19)>,
				<NRF_PSEL(UART_CTS, 0, 21)>;
			low-power-enable;
		};
	};

	uart1_default: uart1_default {
		group1 {
			psels = <NRF_PSEL(UART_TX, 0, 26)>;
		};
		group2 {
			psels = <NRF_PSEL(UART_RX, 0, 7)>;
			bias-pull-up;
		};
	};

	uart1_sleep: uart1_sleep {
		group1 {
			psels = <NRF_PSEL(UART_TX, 0, 26)>,
				<NRF_PSEL(UART_RX, 0, 7)>;
			low-power-enable;
		};
	};

	i2c2_default: i2c2_default {
		group1 {
			psels = <NRF_PSEL(TWIM_SDA, 0, 4)>,
				<NRF_PSEL(TWIM_SCL, 0, 27)>;
			bias-pull-up;
			nordic,drive-mode = <NRF_DRIVE_S0D1>;				
		};
	};

	i2c2_sleep: i2c2_sleep {
		group1 {
			psels = <NRF_PSEL(TWIM_SDA, 0, 4)>,
				<NRF_PSEL(TWIM_SCL, 0, 27)>;
			low-power-enable;
		};
	};	

	spi3_default: spi3_default {
		group1 {
			psels = <NRF_PSEL(SPIM_SCK, 1, 15)>,
				<NRF_PSEL(SPIM_MOSI, 1, 13)>,
				<NRF_PSEL(SPIM_MISO, 1, 14)>;
		};
	};

	spi3_sleep: spi3_sleep {
		group1 {
			psels = <NRF_PSEL(SPIM_SCK, 1, 15)>,
				<NRF_PSEL(SPIM_MOSI, 1, 13)>,
				<NRF_PSEL(SPIM_MISO, 1, 14)>;
			low-power-enable;
		};
	};
};


&uart0 {
	compatible = "nordic,nrf-uarte";
	status = "okay";
	current-speed = < 115200 >;
	pinctrl-0 = < &uart0_default >;
	pinctrl-1 = < &uart0_sleep >;
	pinctrl-names = "default", "sleep";	
	/* delete rts-pin&cts-pin to release the related 2 pins for other uses */
	/delete-property/ rts-pin;
	/delete-property/ cts-pin;
};

&uart1 {
	status = "okay";
	current-speed = < 1000000 >;
	pinctrl-0 = < &uart1_default >;
	pinctrl-1 = < &uart1_sleep >;
	pinctrl-names = "default", "sleep";	
};

&i2c1 {
	status = "disabled";
};

&i2c2 {
	status = "okay";
	compatible = "nordic,nrf-twim";
	pinctrl-0 = < &i2c2_default >;
	pinctrl-1 = < &i2c2_sleep >;
	pinctrl-names = "default", "sleep";	
	i2c_dev_0: i2c_dev_0@50 {
		compatible = "i2c-device";
		reg = <0x50>;
	};
	i2c_dev_1: i2c_dev_1@B {
		compatible = "i2c-device";
		reg = <0x0B>;
	}; 	
};

&spi2 {
	status = "disabled";
};

&spi3 {
	status = "okay"; 
	compatible = "nordic,nrf-spim";
	pinctrl-0 = <&spi3_default>;
	pinctrl-1 = <&spi3_sleep>;
	pinctrl-names = "default", "sleep";	
	cs-gpios = <&gpio1 12 GPIO_ACTIVE_LOW>, <&gpio1 6 GPIO_ACTIVE_LOW>;
	spi_dev_0: spi_dev_0@0 {
		compatible = "vnd,spi-device";
		reg = <0>;
		spi-max-frequency = <DT_FREQ_M(8)>;
	}; 
	spi_dev_1: spi_dev_1@1 {
		compatible = "vnd,spi-device";
		reg = <1>;
		spi-max-frequency = <DT_FREQ_M(8)>;
	};    			   	
};

&adc {
	status = "okay";
	#address-cells = <1>;
	#size-cells = <0>;

	channel@0 {
		reg = <0>;
		zephyr,gain = "ADC_GAIN_1_6";
		zephyr,reference = "ADC_REF_INTERNAL";
		zephyr,acquisition-time = <ADC_ACQ_TIME(ADC_ACQ_TIME_MICROSECONDS, 20)>;
		zephyr,input-positive = <NRF_SAADC_AIN1>;			
		zephyr,vref-mv = <600>;
		zephyr,resolution = <10>;						
	};
	
	channel@1 {
		reg = <1>;
		zephyr,gain = "ADC_GAIN_1_6";
		zephyr,reference = "ADC_REF_INTERNAL";
		zephyr,acquisition-time = <ADC_ACQ_TIME(ADC_ACQ_TIME_MICROSECONDS, 20)>;
		zephyr,input-positive = <NRF_SAADC_VDD>;		
		zephyr,vref-mv = <600>;
		zephyr,resolution = <10>;					
	};

};


&gpio0 {
	/* pin9 sense for edge */
	sense-edge-mask = <0x200>;
};
```

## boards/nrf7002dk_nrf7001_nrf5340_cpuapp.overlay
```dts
/* overlay file for app core */

/ {
	chosen {
		nordic,pm-ext-flash = &mx25r64;
	};
	/* See &GPIO0 definition below */
	zephyr,user {
		extint-gpios = <&gpio0 9 GPIO_ACTIVE_LOW>;
	};		
};

&uicr {
	nfct-pins-as-gpios;
};

&pinctrl {
	uart0_default: uart0_default {
		group1 {
			psels = <NRF_PSEL(UART_TX, 0, 20)>,
				<NRF_PSEL(UART_RTS, 0, 19)>;
		};
		group2 {
			psels = <NRF_PSEL(UART_RX, 0, 22)>,
				<NRF_PSEL(UART_CTS, 0, 21)>;
			bias-pull-up;
		};
	};

	uart0_sleep: uart0_sleep {
		group1 {
			psels = <NRF_PSEL(UART_TX, 0, 20)>,
				<NRF_PSEL(UART_RX, 0, 22)>,
				<NRF_PSEL(UART_RTS, 0, 19)>,
				<NRF_PSEL(UART_CTS, 0, 21)>;
			low-power-enable;
		};
	};

	uart1_default: uart1_default {
		group1 {
			psels = <NRF_PSEL(UART_TX, 0, 26)>;
		};
		group2 {
			psels = <NRF_PSEL(UART_RX, 0, 7)>;
			bias-pull-up;
		};
	};

	uart1_sleep: uart1_sleep {
		group1 {
			psels = <NRF_PSEL(UART_TX, 0, 26)>,
				<NRF_PSEL(UART_RX, 0, 7)>;
			low-power-enable;
		};
	};

	i2c2_default: i2c2_default {
		group1 {
			psels = <NRF_PSEL(TWIM_SDA, 0, 4)>,
				<NRF_PSEL(TWIM_SCL, 0, 27)>;
			bias-pull-up;
			nordic,drive-mode = <NRF_DRIVE_S0D1>;				
		};
	};

	i2c2_sleep: i2c2_sleep {
		group1 {
			psels = <NRF_PSEL(TWIM_SDA, 0, 4)>,
				<NRF_PSEL(TWIM_SCL, 0, 27)>;
			low-power-enable;
		};
	};	

	spi3_default_alt: spi3_default_alt {
		group1 {
			psels = <NRF_PSEL(SPIM_SCK, 1, 15)>,
				<NRF_PSEL(SPIM_MOSI, 1, 13)>,
				<NRF_PSEL(SPIM_MISO, 1, 14)>;
		};
	};

	spi3_sleep_alt: spi3_sleep_alt {
		group1 {
			psels = <NRF_PSEL(SPIM_SCK, 1, 15)>,
				<NRF_PSEL(SPIM_MOSI, 1, 13)>,
				<NRF_PSEL(SPIM_MISO, 1, 14)>;
			low-power-enable;
		};
	};
};


&uart0 {
	compatible = "nordic,nrf-uarte";
	status = "okay";
	current-speed = < 115200 >;
	pinctrl-0 = < &uart0_default >;
	pinctrl-1 = < &uart0_sleep >;
	pinctrl-names = "default", "sleep";	
	/* delete rts-pin&cts-pin to release the related 2 pins for other uses */
	/delete-property/ rts-pin;
	/delete-property/ cts-pin;
};

&uart1 {
	status = "okay";
	current-speed = < 1000000 >;
	pinctrl-0 = < &uart1_default >;
	pinctrl-1 = < &uart1_sleep >;
	pinctrl-names = "default", "sleep";	
};

&i2c1 {
	status = "disabled";
};

my_i2c: &i2c2 {
	status = "okay";
	compatible = "nordic,nrf-twim";
	pinctrl-0 = < &i2c2_default >;
	pinctrl-1 = < &i2c2_sleep >;
	pinctrl-names = "default", "sleep";	
};

&spi2 {
	status = "disabled";
};

my_spi: &spi3 {
	status = "okay"; 
	compatible = "nordic,nrf-spim";
	pinctrl-0 = <&spi3_default_alt>;
	pinctrl-1 = <&spi3_sleep_alt>;
	pinctrl-names = "default", "sleep";	
	cs-gpios = <&gpio1 12 GPIO_ACTIVE_LOW>;
};

&adc {
	status = "okay";
	#address-cells = <1>;
	#size-cells = <0>;

	channel@0 {
		reg = <0>;
		zephyr,gain = "ADC_GAIN_1_6";
		zephyr,reference = "ADC_REF_INTERNAL";
		zephyr,acquisition-time = <ADC_ACQ_TIME(ADC_ACQ_TIME_MICROSECONDS, 20)>;
		zephyr,input-positive = <NRF_SAADC_AIN0>;			
	};
	
	channel@1 {
		reg = <1>;
		zephyr,gain = "ADC_GAIN_1_6";
		zephyr,reference = "ADC_REF_INTERNAL";
		zephyr,acquisition-time = <ADC_ACQ_TIME(ADC_ACQ_TIME_MICROSECONDS, 20)>;
		zephyr,input-positive = <NRF_SAADC_AIN1>;		
	};

};

/delete-node/ &storage_partition;
&flash0{
		partitions {
			compatible = "fixed-partitions";
			#address-cells = < 0x1 >;
			#size-cells = < 0x1 >;

			storage_partition: partition@fc000 {
				label = "storage";
				reg = < 0xfc000 0x4000 >;
			};
		};
};

&gpio0 {
	/* pin9 sense for edge */
	sense-edge-mask = <0x200>;
};
```

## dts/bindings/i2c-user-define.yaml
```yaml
#
# Copyright (c) Kevin.ai
#
# SPDX-License-Identifier: Apache-2.0
#

description: |
    This binding provides resources required to build and run in Zephyr.

compatible: "i2c-user-define"

include: [i2c-device.yaml]
```

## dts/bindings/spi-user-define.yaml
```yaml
#
# Copyright (c) 2022 Kumar Gala <galak@kernel.org>
#
# SPDX-License-Identifier: Apache-2.0
#

description: |
    This binding provides resources required to build and run in Zephyr.

compatible: "spi-user-define"

include: [spi-device.yaml]
```

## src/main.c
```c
/*
 * Copyright (c) 2020 Nordic Semiconductor ASA
 *
 * SPDX-License-Identifier: LicenseRef-BSD-5-Clause-Nordic
 */

#include <zephyr/kernel.h>
#include <zephyr/device.h>
#include <zephyr/devicetree.h>
#include <zephyr/drivers/gpio.h>
#include <stdio.h>
#include <dk_buttons_and_leds.h>
#include <nrfx.h>
#include <zephyr/drivers/uart.h>
#include <zephyr/bluetooth/bluetooth.h>
#include <zephyr/bluetooth/uuid.h>
#include <zephyr/bluetooth/gatt.h>
#include <zephyr/bluetooth/hci.h>
#include <bluetooth/services/nus.h>
#include <zephyr/settings/settings.h>
#include <zephyr/logging/log.h>
#include <zephyr/logging/log_ctrl.h>
#include <zephyr/pm/device.h>
#include <helpers/nrfx_reset_reason.h>

#define LOG_MODULE_NAME main
LOG_MODULE_REGISTER(LOG_MODULE_NAME);

#define DEVICE_NAME CONFIG_BT_DEVICE_NAME
#define DEVICE_NAME_LEN	(sizeof(DEVICE_NAME) - 1)
#define KEY_PASSKEY_ACCEPT DK_BTN1_MSK
#define KEY_PASSKEY_REJECT DK_BTN2_MSK

#define ERASE_DELAY_AFTER_BOOT 30   //unit: s
static struct k_work_delayable blinky_work;
K_SEM_DEFINE(sem_spi_txrx, 0, 1);

static struct bt_conn *current_conn;
static struct bt_conn *auth_conn;
static const struct device *runLED;
static const struct device *conLED;
static bool led_is_on = true;

static const struct bt_data ad[] = {
	BT_DATA_BYTES(BT_DATA_FLAGS, (BT_LE_AD_GENERAL | BT_LE_AD_NO_BREDR)),
	BT_DATA(BT_DATA_NAME_COMPLETE, DEVICE_NAME, DEVICE_NAME_LEN),
};

/* Stack definition for application workqueue */
K_THREAD_STACK_DEFINE(application_stack_area,
		      1024);
static struct k_work_q application_work_q;
static struct k_work adv_work;

#define LED0_NODE DT_ALIAS(led0)
#define LED0	DT_GPIO_CTLR(LED0_NODE, gpios)
#define LED0_PIN	DT_GPIO_PIN(LED0_NODE, gpios)
#define LED0_FLAGS	DT_GPIO_FLAGS(LED0_NODE, gpios)

#define LED1_NODE DT_ALIAS(led1)
#define LED1	DT_GPIO_CTLR(LED1_NODE, gpios)
#define LED1_PIN	DT_GPIO_PIN(LED1_NODE, gpios)
#define LED1_FLAGS	DT_GPIO_FLAGS(LED1_NODE, gpios)

#ifdef CONFIG_PM_DEVICE
const struct device *devUart0;
#ifdef CONFIG_SAMPLE_HS_UART
const struct device *devUart1;
#endif
const struct device *devI2C;
const struct device *devSPI;
static void get_device_handles(void)
{
	devUart0 = DEVICE_DT_GET(DT_CHOSEN(zephyr_console));
#ifdef CONFIG_SAMPLE_HS_UART
    devUart1 = DEVICE_DT_GET(DT_ALIAS(myuart));
#endif
	devI2C = DEVICE_DT_GET(DT_ALIAS(myi2c));
    devSPI = DEVICE_DT_GET(DT_ALIAS(myspi));
}

extern int my_uart_enable();
void set_device_pm_state(void)
{
	static bool is_off;
	int err = 0;

	if (is_off)
	{
		LOG_INF("Turning on UART/SPI/I2C");
		is_off = false;
		err = pm_device_action_run(devUart0, PM_DEVICE_ACTION_RESUME);
		err |= pm_device_action_run(devI2C,	PM_DEVICE_ACTION_RESUME);
		err |= pm_device_action_run(devSPI,	PM_DEVICE_ACTION_RESUME);
#ifdef CONFIG_SAMPLE_HS_UART
		err |= pm_device_action_run(devUart1, PM_DEVICE_ACTION_RESUME);
#endif
		if (err) {
			LOG_ERR("Activating err %d", err);
		}
		else
		{
			LOG_INF("Entered active state");
		}

#ifdef CONFIG_UART_ASYNC_API
		my_uart_enable();
#endif

	}
	else
	{
		LOG_INF("Turning off UART/SPI/I2C to save power");
		is_off = true;
		err = pm_device_action_run(devI2C,	PM_DEVICE_ACTION_SUSPEND);
		err |= pm_device_action_run(devSPI,	PM_DEVICE_ACTION_SUSPEND);
#ifdef CONFIG_SAMPLE_HS_UART
#ifdef CONFIG_UART_ASYNC_API
		// ((const struct uart_driver_api *)devUart1->api)->rx_disable(devUart1);
		uart_rx_disable(devUart1);
#endif
		k_msleep(10);  //just to simulate a thread calling rx_disable
		err |= pm_device_action_run(devUart1, PM_DEVICE_ACTION_SUSPEND);
#endif
		if (err) {
			LOG_ERR("Entering low power err %d", err);
		}
		else
		{
			LOG_INF("Entered low power");
		}
		if (IS_ENABLED(CONFIG_LOG_MODE_DEFERRED)) {
			while(log_process());
		}

		err = pm_device_action_run(devUart0, PM_DEVICE_ACTION_SUSPEND);
	}

}
#endif //CONFIG_PM_DEVICE

static void blinky_work_fn(struct k_work *work)
{
	gpio_pin_set(runLED, LED0_PIN, (int)led_is_on);
	led_is_on = !led_is_on;

	k_work_reschedule_for_queue(&application_work_q, &blinky_work,
					   	K_SECONDS(2));

}

#ifdef CONFIG_BT_GATT_CLIENT
static struct bt_gatt_exchange_params exchange_params;

static void exchange_func(struct bt_conn *conn, uint8_t att_err,
			  struct bt_gatt_exchange_params *params)
{
	if (att_err)
	{
		LOG_ERR("MTU exchange failed");
	}
	else
	{
		LOG_INF("MTU updated to %d", bt_gatt_get_mtu(conn));
	}

}
#endif

static void adv_work_handler(struct k_work *work)
{
	int err = bt_le_adv_start(BT_LE_ADV_CONN_FAST_2, ad, ARRAY_SIZE(ad), NULL, 0);

	if (err) {
		LOG_ERR("Advertising failed to start (err %d)", err);
		return;
	}

	LOG_INF("Advertising successfully started");
}

static void advertising_start(void)
{
	k_work_submit(&adv_work);
}

static void connected(struct bt_conn *conn, uint8_t err)
{
	char addr[BT_ADDR_LE_STR_LEN];

	if (err) {
		LOG_ERR("Connection failed (err %u)", err);
		return;
	}

	bt_addr_le_to_str(bt_conn_get_dst(conn), addr, sizeof(addr));
	LOG_INF("Connected %s", addr);

	current_conn = bt_conn_ref(conn);

#ifdef CONFIG_BT_NUS_SECURITY_ENABLED
	if (bt_conn_set_security(conn, BT_SECURITY_L3)) {
		LOG_INF("Failed to set security\n");
	}
#endif
#ifdef CONFIG_BT_GATT_CLIENT
	exchange_params.func = exchange_func;
	err = bt_gatt_exchange_mtu(conn, &exchange_params);
	if (err) {
		LOG_ERR("MTU exchange failed");
	}
#endif

	gpio_pin_set(conLED, LED1_PIN, 1);
}

static void disconnected(struct bt_conn *conn, uint8_t reason)
{
	char addr[BT_ADDR_LE_STR_LEN];

	bt_addr_le_to_str(bt_conn_get_dst(conn), addr, sizeof(addr));

	LOG_INF("Disconnected: %s (reason %u)", addr, reason);

	if (auth_conn) {
		bt_conn_unref(auth_conn);
		auth_conn = NULL;
	}

	if (current_conn) {
		bt_conn_unref(current_conn);
		current_conn = NULL;
		gpio_pin_set(conLED, LED1_PIN, 0);
	}
}

static void recycled_cb(void)
{
	LOG_INF("Connection object available from previous conn. Disconnect is complete!");
	advertising_start();
}

#ifdef CONFIG_BT_NUS_SECURITY_ENABLED
static void security_changed(struct bt_conn *conn, bt_security_t level,
			     enum bt_security_err err)
{
	char addr[BT_ADDR_LE_STR_LEN];

	bt_addr_le_to_str(bt_conn_get_dst(conn), addr, sizeof(addr));

	if (!err) {
		LOG_INF("Security changed: %s level %u", addr, level);
	} else {
		LOG_WRN("Security failed: %s level %u err %d", addr,
			level, err);
	}
}
#endif

BT_CONN_CB_DEFINE(conn_callbacks) = {
	.connected        = connected,
	.disconnected     = disconnected,
	.recycled         = recycled_cb,
#ifdef CONFIG_BT_NUS_SECURITY_ENABLED
	.security_changed = security_changed,
#endif
};

#if defined(CONFIG_BT_NUS_SECURITY_ENABLED)
static void auth_passkey_display(struct bt_conn *conn, unsigned int passkey)
{
	char addr[BT_ADDR_LE_STR_LEN];

	bt_addr_le_to_str(bt_conn_get_dst(conn), addr, sizeof(addr));

	LOG_INF("Passkey for %s: %06u", addr, passkey);
}

static void auth_passkey_confirm(struct bt_conn *conn, unsigned int passkey)
{
	char addr[BT_ADDR_LE_STR_LEN];

	auth_conn = bt_conn_ref(conn);

	bt_addr_le_to_str(bt_conn_get_dst(conn), addr, sizeof(addr));

	LOG_INF("Passkey for %s: %06u", addr, passkey);
	LOG_INF("Press Button 1 to confirm, Button 2 to reject.");
}


static void auth_cancel(struct bt_conn *conn)
{
	char addr[BT_ADDR_LE_STR_LEN];

	bt_addr_le_to_str(bt_conn_get_dst(conn), addr, sizeof(addr));

	LOG_INF("Pairing cancelled: %s", addr);
}


static void pairing_complete(struct bt_conn *conn, bool bonded)
{
	char addr[BT_ADDR_LE_STR_LEN];

	bt_addr_le_to_str(bt_conn_get_dst(conn), addr, sizeof(addr));

	LOG_INF("Pairing completed: %s, bonded: %d", addr, bonded);
}


static void pairing_failed(struct bt_conn *conn, enum bt_security_err reason)
{
	char addr[BT_ADDR_LE_STR_LEN];

	bt_addr_le_to_str(bt_conn_get_dst(conn), addr, sizeof(addr));

	LOG_INF("Pairing failed conn: %s, reason %d", addr, reason);
}


static struct bt_conn_auth_cb conn_auth_callbacks = {
	.passkey_display = auth_passkey_display,
	.passkey_confirm = auth_passkey_confirm,
	.cancel = auth_cancel,
};

static struct bt_conn_auth_info_cb conn_auth_info_callbacks = {
	.pairing_complete = pairing_complete,
	.pairing_failed = pairing_failed
};
#else
static struct bt_conn_auth_cb conn_auth_callbacks;
static struct bt_conn_auth_info_cb conn_auth_info_callbacks;
#endif

#ifdef CONFIG_SAMPLE_HS_UART
extern int my_uart_send(const uint8_t *buf, size_t len);
#endif

static void bt_receive_cb(struct bt_conn *conn, const uint8_t *const data,
			  uint16_t len)
{
	char addr[BT_ADDR_LE_STR_LEN] = {0};

	bt_addr_le_to_str(bt_conn_get_dst(conn), addr, ARRAY_SIZE(addr));

	LOG_INF("Received data from: %s", addr);
#ifdef CONFIG_SAMPLE_HS_UART
	my_uart_send(data, len);
#endif

}

static struct bt_nus_cb nus_cb = {
	.received = bt_receive_cb,
};

void error(void)
{
	dk_set_leds_state(DK_ALL_LEDS_MSK, DK_NO_LEDS_MSK);

	while (true) {
		/* Spin for ever */
		k_sleep(K_MSEC(1000));
	}
}

#if defined(CONFIG_BT_NUS_SECURITY_ENABLED)
static void num_comp_reply(bool accept)
{
	if (accept) {
		bt_conn_auth_passkey_confirm(auth_conn);
		LOG_INF("Numeric Match, conn %p", (void *)auth_conn);
	} else {
		bt_conn_auth_cancel(auth_conn);
		LOG_INF("Numeric Reject, conn %p", (void *)auth_conn);
	}

	bt_conn_unref(auth_conn);
	auth_conn = NULL;
}

#endif

void button_changed(uint32_t button_state, uint32_t has_changed)
{
	uint32_t buttons = button_state & has_changed;

	if (buttons & DK_BTN2_MSK) {
		LOG_INF("button2 isr");
		k_sem_give(&sem_spi_txrx);
	}

	if (buttons & DK_BTN1_MSK) {
		LOG_INF("button1 isr");
#ifdef CONFIG_PM_DEVICE
		set_device_pm_state();
#endif
	}

#if defined(CONFIG_BT_NUS_SECURITY_ENABLED)
	if (auth_conn) {
		if (buttons & KEY_PASSKEY_ACCEPT) {
			num_comp_reply(true);
		}

		if (buttons & KEY_PASSKEY_REJECT) {
			num_comp_reply(false);
		}
	}
#endif

}

void att_mtu_updated(struct bt_conn *conn, uint16_t tx, uint16_t rx)
{
	LOG_INF("MTU Updated: tx %d, rx %d\n", tx, rx);
}

static struct bt_gatt_cb mtu_cb = {
	.att_mtu_updated = att_mtu_updated,
};

int main(void)
{
	int err;
	uint32_t rc;

	LOG_INF("### Comprehensive example v3.0 @ %s built at %s %s\n", CONFIG_BOARD_TARGET, __TIME__, __DATE__);

	rc = nrfx_reset_reason_get();
	LOG_INF("=== Reset reason:0x%x", rc);
	nrfx_reset_reason_clear(rc);

	runLED = DEVICE_DT_GET(LED0);
	if (runLED == NULL) {
		LOG_ERR("LED0 bind null\n");
	}
	err = gpio_pin_configure(runLED, LED0_PIN, GPIO_OUTPUT_ACTIVE | LED0_FLAGS);
	if (err < 0) {
		LOG_ERR("led0 configure error %d \n", err);
	}

	conLED = DEVICE_DT_GET(LED1);
	if (conLED == NULL) {
		LOG_ERR("LED1 bind null\n");
	}
	err = gpio_pin_configure(conLED, LED1_PIN, GPIO_OUTPUT_ACTIVE | LED1_FLAGS);
	if (err < 0) {
		LOG_ERR("led1 configure error %d \n", err);
	}
	gpio_pin_set(conLED, LED1_PIN, 0);

	//only initialize buttons module. LED moudle is not used!
	err = dk_buttons_init(button_changed);
	if (err) {
		LOG_ERR("Cannot init buttons (err: %d)", err);
	}

#ifdef CONFIG_PM_DEVICE
	get_device_handles();
#endif

	k_work_queue_start(&application_work_q, application_stack_area,
			   K_THREAD_STACK_SIZEOF(application_stack_area), 10,
			   NULL);
	k_work_init_delayable(&blinky_work, blinky_work_fn);
	k_work_reschedule_for_queue(&application_work_q, &blinky_work,
					   	K_MSEC(20));

	if (IS_ENABLED(CONFIG_BT_NUS_SECURITY_ENABLED)) {
		err = bt_conn_auth_cb_register(&conn_auth_callbacks);
		if (err) {
			printk("Failed to register authorization callbacks.\n");
			return 0;
		}

		err = bt_conn_auth_info_cb_register(&conn_auth_info_callbacks);
		if (err) {
			printk("Failed to register authorization info callbacks.\n");
			return 0;
		}
	}

	err = bt_enable(NULL);
	if (err) {
		error();
	}

	LOG_INF("Bluetooth initialized");

	bt_gatt_cb_register(&mtu_cb);

	if (IS_ENABLED(CONFIG_SETTINGS)) {
		settings_load();
	}

	err = bt_nus_init(&nus_cb);
	if (err) {
		LOG_ERR("Failed to initialize UART service (err: %d)", err);
		return err;
	}

	k_work_init(&adv_work, adv_work_handler);
	advertising_start();

	while(1)
	{
		//add your code here
		LOG_INF("main thread");
		k_sleep(K_SECONDS(20));
	}

	return 0;
}
```
